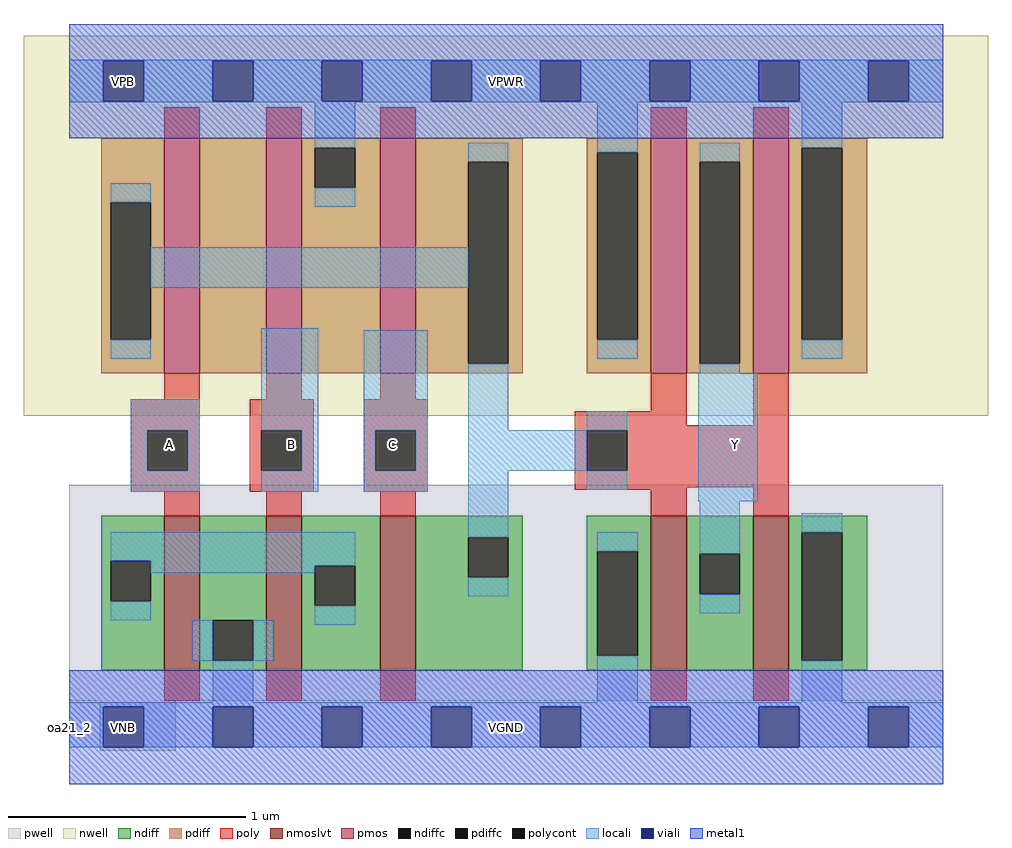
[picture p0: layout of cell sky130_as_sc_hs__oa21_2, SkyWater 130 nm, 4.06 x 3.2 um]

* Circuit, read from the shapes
.subckt sky130_as_sc_hs__oa21_2 VNB VPB VPWR VGND A B C Y
XM1 VGND A n1 VNB sky130_fd_pr__nfet_01v8_lvt w=0.65 l=0.15
XM2 n1 B VGND VNB sky130_fd_pr__nfet_01v8_lvt w=0.65 l=0.15
XM3 n2 C n1 VNB sky130_fd_pr__nfet_01v8_lvt w=0.65 l=0.15
XM4 Y n2 VGND VNB sky130_fd_pr__nfet_01v8_lvt w=0.65 l=0.15 m=2
XM5 n3 A n2 VPB sky130_fd_pr__pfet_01v8 w=0.99 l=0.15
XM6 VPWR B n3 VPB sky130_fd_pr__pfet_01v8 w=0.99 l=0.15
XM7 n2 C VPWR VPB sky130_fd_pr__pfet_01v8 w=0.99 l=0.15
XM8 Y n2 VPWR VPB sky130_fd_pr__pfet_01v8 w=0.99 l=0.15 m=2
.ends

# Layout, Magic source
magic
tech sky130A
magscale 1 2
<< nwell >>
rect -38 262 774 582
<< pwell >>
rect 0 22 736 204
rect 26 -20 90 22
<< pmos >>
rect 80 298 110 496
rect 166 298 196 496
rect 262 298 292 496
rect 490 298 520 496
rect 576 298 606 496
<< nmoslvt >>
rect 80 48 110 178
rect 166 48 196 178
rect 262 48 292 178
rect 490 48 520 178
rect 576 48 606 178
<< ndiff >>
rect 27 140 80 178
rect 27 106 35 140
rect 69 106 80 140
rect 27 48 80 106
rect 110 90 166 178
rect 110 56 121 90
rect 155 56 166 90
rect 110 48 166 56
rect 196 136 262 178
rect 196 102 207 136
rect 241 102 262 136
rect 196 48 262 102
rect 292 160 382 178
rect 292 126 336 160
rect 370 126 382 160
rect 292 48 382 126
rect 436 148 490 178
rect 436 60 445 148
rect 479 60 490 148
rect 436 48 490 60
rect 520 146 576 178
rect 520 112 531 146
rect 565 112 576 146
rect 520 48 576 112
rect 606 164 672 178
rect 606 56 617 164
rect 651 56 672 164
rect 606 48 672 56
<< pdiff >>
rect 27 442 80 496
rect 27 326 35 442
rect 69 326 80 442
rect 27 298 80 326
rect 110 298 166 496
rect 196 488 262 496
rect 196 454 207 488
rect 241 454 262 488
rect 196 298 262 454
rect 292 476 382 496
rect 292 306 336 476
rect 370 306 382 476
rect 292 298 382 306
rect 436 484 490 496
rect 436 326 445 484
rect 479 326 490 484
rect 436 298 490 326
rect 520 476 576 496
rect 520 306 531 476
rect 565 306 576 476
rect 520 298 576 306
rect 606 488 672 496
rect 606 326 617 488
rect 651 326 672 488
rect 606 298 672 326
<< ndiffc >>
rect 35 106 69 140
rect 121 56 155 90
rect 207 102 241 136
rect 336 126 370 160
rect 445 60 479 148
rect 531 112 565 146
rect 617 56 651 164
<< pdiffc >>
rect 35 326 69 442
rect 207 454 241 488
rect 336 306 370 476
rect 445 326 479 484
rect 531 306 565 476
rect 617 326 651 488
<< poly >>
rect 80 496 110 522
rect 166 496 196 522
rect 262 496 292 522
rect 490 496 520 522
rect 576 496 606 522
rect 80 276 110 298
rect 166 276 196 298
rect 262 276 292 298
rect 52 250 110 276
rect 52 216 66 250
rect 100 216 110 250
rect 52 198 110 216
rect 152 250 206 276
rect 152 216 162 250
rect 196 216 206 250
rect 152 198 206 216
rect 248 250 302 276
rect 490 266 520 298
rect 248 216 258 250
rect 292 216 302 250
rect 248 198 302 216
rect 426 254 520 266
rect 576 254 606 298
rect 426 250 606 254
rect 426 216 436 250
rect 470 216 606 250
rect 426 202 606 216
rect 426 200 520 202
rect 80 178 110 198
rect 166 178 196 198
rect 262 178 292 198
rect 490 178 520 200
rect 576 178 606 202
rect 80 22 110 48
rect 166 22 196 48
rect 262 22 292 48
rect 490 22 520 48
rect 576 22 606 48
<< polycont >>
rect 66 216 100 250
rect 162 216 196 250
rect 258 216 292 250
rect 436 216 470 250
<< locali >>
rect 0 561 736 562
rect 0 527 29 561
rect 63 527 121 561
rect 155 527 213 561
rect 247 527 305 561
rect 339 527 397 561
rect 431 527 489 561
rect 523 527 581 561
rect 615 527 673 561
rect 707 527 736 561
rect 0 526 736 527
rect 207 488 241 526
rect 35 442 69 458
rect 207 438 241 454
rect 336 476 370 492
rect 69 370 336 404
rect 35 310 69 326
rect 52 250 110 276
rect 52 216 66 250
rect 100 216 110 250
rect 52 198 110 216
rect 162 250 210 336
rect 196 216 210 250
rect 162 198 210 216
rect 248 250 302 334
rect 248 216 258 250
rect 292 216 302 250
rect 248 198 302 216
rect 445 484 479 526
rect 445 310 479 326
rect 531 476 565 492
rect 336 250 370 306
rect 617 488 651 526
rect 617 310 651 326
rect 531 298 565 306
rect 436 250 470 266
rect 336 216 436 250
rect 35 140 241 164
rect 69 136 241 140
rect 69 130 207 136
rect 35 90 69 106
rect 336 160 370 216
rect 436 200 470 216
rect 530 190 580 298
rect 336 110 370 126
rect 445 148 479 164
rect 104 56 121 90
rect 155 56 172 90
rect 207 86 241 102
rect 531 146 565 190
rect 531 96 565 112
rect 617 164 651 180
rect 121 21 155 56
rect 445 21 479 60
rect 617 21 651 56
rect 0 17 736 21
rect 0 -17 29 17
rect 63 -17 121 17
rect 155 -17 213 17
rect 247 -17 305 17
rect 339 -17 397 17
rect 431 -17 489 17
rect 523 -17 581 17
rect 615 -17 673 17
rect 707 -17 736 17
<< viali >>
rect 29 527 63 561
rect 121 527 155 561
rect 213 527 247 561
rect 305 527 339 561
rect 397 527 431 561
rect 489 527 523 561
rect 581 527 615 561
rect 673 527 707 561
rect 29 -17 63 17
rect 121 -17 155 17
rect 213 -17 247 17
rect 305 -17 339 17
rect 397 -17 431 17
rect 489 -17 523 17
rect 581 -17 615 17
rect 673 -17 707 17
<< metal1 >>
rect 0 561 736 592
rect 0 527 29 561
rect 63 527 121 561
rect 155 527 213 561
rect 247 527 305 561
rect 339 527 397 561
rect 431 527 489 561
rect 523 527 581 561
rect 615 527 673 561
rect 707 527 736 561
rect 0 496 736 527
rect 0 17 736 48
rect 0 -17 29 17
rect 63 -17 121 17
rect 155 -17 213 17
rect 247 -17 305 17
rect 339 -17 397 17
rect 431 -17 489 17
rect 523 -17 581 17
rect 615 -17 673 17
rect 707 -17 736 17
rect 0 -48 736 -17
<< labels >>
rlabel comment s 0 0 0 0 4 oa21_2
flabel pwell s 29 -17 63 17 0 FreeSans 200 0 0 0 VNB
port 1 nsew ground bidirectional
flabel pwell s 46 0 46 0 0 FreeSans 200 0 0 0 VNB
flabel nwell s 29 527 63 561 0 FreeSans 200 0 0 0 VPB
port 2 nsew power bidirectional
flabel nwell s 46 544 46 544 0 FreeSans 200 0 0 0 VPB
flabel metal1 s 29 527 63 561 0 FreeSans 200 0 0 0 VPWR
port 3 nsew power bidirectional abutment
flabel metal1 s 29 -17 63 17 0 FreeSans 200 0 0 0 VGND
port 4 nsew ground bidirectional abutment
rlabel metal1 s 0 -48 736 48 1 VGND
port 4 nsew ground bidirectional abutment
rlabel metal1 s 0 496 736 592 1 VPWR
port 3 nsew power bidirectional abutment
flabel locali s 68 221 102 255 0 FreeSans 200 0 0 0 A
port 5 nsew signal input
flabel locali s 85 238 85 238 0 FreeSans 200 0 0 0 A
flabel locali s 170 221 204 255 0 FreeSans 200 0 0 0 B
port 6 nsew signal input
flabel locali s 187 238 187 238 0 FreeSans 200 0 0 0 B
flabel locali s 255 221 289 255 0 FreeSans 200 0 0 0 C
port 7 nsew signal input
flabel locali s 272 238 272 238 0 FreeSans 200 0 0 0 C
flabel locali s 544 221 578 255 0 FreeSans 200 0 0 0 Y
port 8 nsew signal output
flabel locali s 561 238 561 238 0 FreeSans 200 0 0 0 Y
<< properties >>
string FIXED_BBOX 0 0 736 544
string GDS_FILE $PDKPATH/libs.ref/sky130_as_sc_hs/gds/sky130_as_sc_hs__oa21_2.gds
string LEFclass CORE
string LEFsite unithd
string LEFsymmetry X Y R90
string MASKHINTS_LVTN 0 -4 736 220
string MASKHINTS_NSDM 0 -38 736 209
string MASKHINTS_PSDM 0 273 736 582
<< end >>
